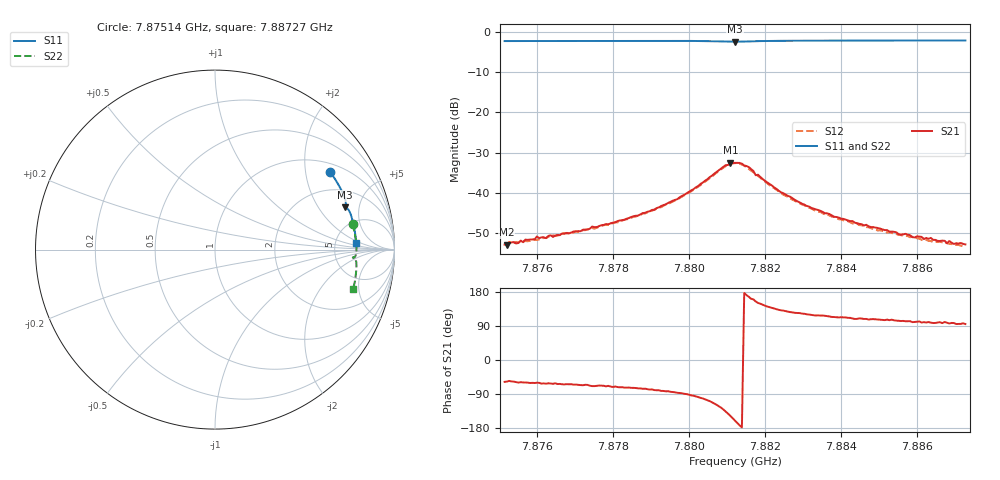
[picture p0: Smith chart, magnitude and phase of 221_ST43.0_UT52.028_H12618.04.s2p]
#  HZ  S  DB  R  50.00
! Rohde & Schwarz Vector Network Analyzer
! Rohde-Schwarz,ZNB20-2Port,1311601062101988,3.16
! Created: UTC 1/12/2023, 6:45:51 PM
! freq[Hz]  db:S11  ang:S11  db:S21  ang:S21  db:S12  ang:S12  db:S22  ang:S22
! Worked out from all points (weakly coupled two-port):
!   201 points, 7.87514 GHz to 7.88727 GHz, reference 50 ohm
!   highest |S21| = -32.53 dB at 7.88108 GHz (marker M1); lowest = -53.0 dB at 7.8752 GHz (marker M2)
!   lowest |S11| = -2.4 dB at 7.88121 GHz (marker M3), VSWR 7.32, Z = 159 + j177 ohm
!   |S11| at or under -10 dB: nowhere
!   |S22| runs from -2.3 to -1.9 dB; largest |S21 - S12| = 0.0018
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7.87514e9  -2.23 34.2  -52.93 -57.7  -52.72 -62.8  -2.16 10.4
7.875201e9  -2.23 34.0  -52.98 -56.9  -52.80 -62.3  -2.15 10.2
7.875929e9  -2.22 32.0  -51.68 -60.7  -51.68 -62.3  -2.14 8.5
7.875989e9  -2.21 31.8  -50.92 -60.0  -51.79 -64.1  -2.14 8.4
7.876232e9  -2.21 31.2  -51.32 -62.7  -51.30 -66.0  -2.13 7.8
7.877202e9  -2.19 28.5  -49.22 -66.6  -49.34 -69.4  -2.10 5.5
7.878416e9  -2.18 25.2  -46.30 -72.8  -46.60 -76.2  -2.08 2.6
7.879204e9  -2.18 23.0  -43.65 -80.0  -43.74 -83.7  -2.07 0.7
7.880114e9  -2.20 20.3  -39.13 -94.1  -39.30 -97.9  -2.08 -1.5
7.881084e9  -2.38 18.1  -32.53 -147.6  -32.86 -150.7  -2.26 -3.4
7.881206e9  -2.39 18.1  -32.56 -159.8  -32.63 -163.2  -2.28 -3.3
7.88157e9  -2.31 18.0  -33.63 166.8  -34.05 163.1  -2.20 -3.2
7.881751e9  -2.26 17.6  -35.65 154.3  -35.39 151.4  -2.15 -3.6
7.881812e9  -2.25 17.4  -35.53 150.5  -35.83 148.0  -2.14 -3.7
7.882358e9  -2.17 15.8  -39.54 132.3  -39.69 128.8  -2.05 -5.0
7.883268e9  -2.13 13.2  -43.95 118.0  -44.24 115.4  -2.00 -7.2
7.884299e9  -2.11 10.4  -47.05 109.7  -47.66 106.2  -1.97 -9.6
7.885269e9  -2.10 7.9  -49.69 105.1  -49.85 101.2  -1.96 -11.8
7.886361e9  -2.09 5.0  -51.26 98.5  -52.07 98.9  -1.95 -14.1
7.886786e9  -2.09 3.9  -52.60 98.5  -52.59 93.9  -1.94 -15.1
7.886846e9  -2.08 3.7  -52.05 96.4  -52.71 96.1  -1.94 -15.2
7.887271e9  -2.08 2.6  -52.88 95.0  -53.25 92.0  -1.94 -16.1
